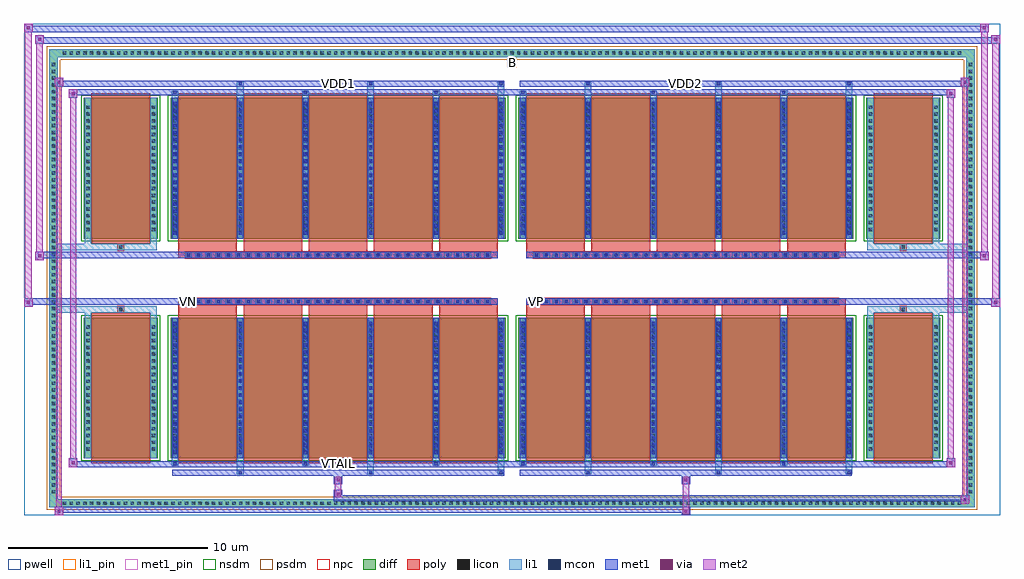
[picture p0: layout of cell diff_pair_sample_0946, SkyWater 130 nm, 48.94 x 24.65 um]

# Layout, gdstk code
import gdstk
lib = gdstk.Library(unit=1e-6, precision=5e-09)
def R(c, l, rs):  # rectangles x0, y0, x1, y1
    for r in rs: c.add(gdstk.rectangle(r[:2], r[2:], *l))
def A(c, l, x, y, w, h, nx, ny, dx, dy):  # array of equal rectangles
    R(c, l, [(x+i*dx, y+j*dy, x+i*dx+w, y+j*dy+h) for i in range(nx) for j in range(ny)])
def P(c, l, *ps):  # polygons
    for p in ps: c.add(gdstk.Polygon(p, *l))
pwell = (64, 44)
diff = (65, 20)
poly = (66, 20)
licon = (66, 44)
li1_pin = (67, 16)
li1 = (67, 20)
mcon = (67, 44)
met1_pin = (68, 16)
met1 = (68, 20)
via = (68, 44)
met2 = (69, 20)
nsdm = (93, 44)
psdm = (94, 20)
npc = (95, 20)

diff_pair_sample_0946 = lib.new_cell('diff_pair_sample_0946')
R(diff_pair_sample_0946, pwell, [(-24.47,-11.89,24.47,12.76), (-21.79,-10.08,-0.01,-0.8), (0.01,-10.08,21.79,-0.8), (-21.79,0.8,-0.01,10.08), (0.01,0.8,21.79,10.08)])
A(diff_pair_sample_0946, diff, -22.645, -11.49, 0.41, 0.41, 133, 2, 0.34, 22.57)
A(diff_pair_sample_0946, diff, -23.2, -10.915, 0.41, 0.41, 1, 64, 0, 0.34)
A(diff_pair_sample_0946, diff, 22.79, -10.915, 0.41, 0.41, 1, 64, 0, 0.34)
R(diff_pair_sample_0946, diff, [(-22.645,-11.49,22.645,-11.08), (-23.2,-10.915,-22.79,10.915), (22.79,-10.915,23.2,10.915), (-21.48,-9.035,-17.76,-1.985), (-17.12,-9.035,-0.32,-1.985), (0.32,-9.035,17.12,-1.985), (17.76,-9.035,21.48,-1.985), (-21.48,1.985,-17.76,9.035), (-17.12,1.985,-0.32,9.035), (0.32,1.985,17.12,9.035), (17.76,1.985,21.48,9.035), (-22.645,11.08,22.645,11.49)])
P(diff_pair_sample_0946, diff, [(23.2,11.49),(-23.2,11.49),(-23.2,-11.08),(-22.79,-11.08),(-22.79,11.08),(22.79,11.08),(22.79,-11.08),(-22.79,-11.08),(-23.2,-11.08),(-23.2,-11.49),(23.2,-11.49)])
A(diff_pair_sample_0946, poly, -16.73, -9.285, 2.94, 7.55, 5, 2, 3.27, 11.02)
A(diff_pair_sample_0946, poly, 0.71, -9.285, 2.94, 7.55, 5, 2, 3.27, 11.02)
A(diff_pair_sample_0946, poly, -16.73, -1.735, 2.94, 0.405, 5, 2, 3.27, 3.065)
A(diff_pair_sample_0946, poly, 0.71, -1.735, 2.94, 0.405, 5, 2, 3.27, 3.065)
A(diff_pair_sample_0946, poly, -16.385, -1.33, 0.33, 0.33, 31, 2, 0.5, 2.33)
A(diff_pair_sample_0946, poly, 1.055, -1.33, 0.33, 0.33, 31, 2, 0.5, 2.33)
R(diff_pair_sample_0946, poly, [(-21.09,-9.285,-18.15,-1.735), (18.15,-9.285,21.09,-1.735), (-19.785,-1.735,-19.455,-1.405), (-19.785,-1.735,-19.455,-1.405), (19.455,-1.735,19.785,-1.405), (19.455,-1.735,19.785,-1.405), (-16.73,-1.33,-0.71,-1), (0.71,-1.33,16.73,-1), (-16.73,1,-0.71,1.33), (0.71,1,16.73,1.33), (-19.785,1.405,-19.455,1.735), (-19.785,1.405,-19.455,1.735), (19.455,1.405,19.785,1.735), (19.455,1.405,19.785,1.735), (-21.09,1.735,-18.15,9.285), (18.15,1.735,21.09,9.285)])
A(diff_pair_sample_0946, licon, -22.525, -11.37, 0.17, 0.17, 133, 2, 0.34, 22.57)
A(diff_pair_sample_0946, licon, -23.08, -10.795, 0.17, 0.17, 1, 64, 0, 0.34)
A(diff_pair_sample_0946, licon, 22.91, -10.795, 0.17, 0.17, 1, 64, 0, 0.34)
A(diff_pair_sample_0946, licon, -21.34, -8.655, 0.17, 0.17, 1, 19, 0, 0.34)
A(diff_pair_sample_0946, licon, -18.07, -8.655, 0.17, 0.17, 1, 19, 0, 0.34)
A(diff_pair_sample_0946, licon, -16.98, -8.655, 0.17, 0.17, 6, 19, 3.27, 0.34)
A(diff_pair_sample_0946, licon, 0.46, -8.655, 0.17, 0.17, 6, 19, 3.27, 0.34)
A(diff_pair_sample_0946, licon, 17.9, -8.655, 0.17, 0.17, 1, 19, 0, 0.34)
A(diff_pair_sample_0946, licon, 21.17, -8.655, 0.17, 0.17, 1, 19, 0, 0.34)
A(diff_pair_sample_0946, licon, -16.305, -1.25, 0.17, 0.17, 31, 2, 0.5, 2.33)
A(diff_pair_sample_0946, licon, 1.135, -1.25, 0.17, 0.17, 31, 2, 0.5, 2.33)
A(diff_pair_sample_0946, licon, -21.34, 2.365, 0.17, 0.17, 1, 19, 0, 0.34)
A(diff_pair_sample_0946, licon, -18.07, 2.365, 0.17, 0.17, 1, 19, 0, 0.34)
A(diff_pair_sample_0946, licon, -16.98, 2.365, 0.17, 0.17, 6, 19, 3.27, 0.34)
A(diff_pair_sample_0946, licon, 0.46, 2.365, 0.17, 0.17, 6, 19, 3.27, 0.34)
A(diff_pair_sample_0946, licon, 17.9, 2.365, 0.17, 0.17, 1, 19, 0, 0.34)
A(diff_pair_sample_0946, licon, 21.17, 2.365, 0.17, 0.17, 1, 19, 0, 0.34)
R(diff_pair_sample_0946, licon, [(-19.705,-1.655,-19.535,-1.485), (19.535,-1.655,19.705,-1.485), (-19.705,1.485,-19.535,1.655), (19.535,1.485,19.705,1.655)])
R(diff_pair_sample_0946, li1_pin, [(-0.25,10.58,0.25,11.08)])
A(diff_pair_sample_0946, li1, -22.605, -11.45, 0.33, 0.33, 133, 2, 0.34, 22.57)
A(diff_pair_sample_0946, li1, -23.16, -10.875, 0.33, 0.33, 1, 64, 0, 0.34)
A(diff_pair_sample_0946, li1, 22.83, -10.875, 0.33, 0.33, 1, 64, 0, 0.34)
A(diff_pair_sample_0946, li1, -13.79, -9.84, 0.33, 0.805, 3, 2, 6.54, 18.875)
A(diff_pair_sample_0946, li1, -13.71, -9.84, 0.17, 0.17, 3, 2, 6.54, 19.51)
A(diff_pair_sample_0946, li1, 3.65, -9.84, 0.33, 0.805, 3, 2, 6.54, 18.875)
A(diff_pair_sample_0946, li1, 3.73, -9.84, 0.17, 0.17, 3, 2, 6.54, 19.51)
A(diff_pair_sample_0946, li1, -17.06, -9.41, 0.33, 0.375, 3, 2, 6.54, 18.445)
A(diff_pair_sample_0946, li1, -16.98, -9.41, 0.17, 0.17, 3, 2, 6.54, 18.65)
A(diff_pair_sample_0946, li1, 0.38, -9.41, 0.33, 0.375, 3, 2, 6.54, 18.445)
A(diff_pair_sample_0946, li1, 0.46, -9.41, 0.17, 0.17, 3, 2, 6.54, 18.65)
A(diff_pair_sample_0946, li1, -17.06, -9.035, 0.33, 7.05, 6, 2, 3.27, 11.02)
A(diff_pair_sample_0946, li1, 0.38, -9.035, 0.33, 7.05, 6, 2, 3.27, 11.02)
A(diff_pair_sample_0946, li1, -16.98, -8.835, 0.17, 0.17, 6, 19, 3.27, 0.36)
A(diff_pair_sample_0946, li1, -16.98, -8.835, 0.17, 6.65, 6, 2, 3.27, 11.02)
A(diff_pair_sample_0946, li1, 0.46, -8.835, 0.17, 0.17, 6, 19, 3.27, 0.36)
A(diff_pair_sample_0946, li1, 0.46, -8.835, 0.17, 6.65, 6, 2, 3.27, 11.02)
A(diff_pair_sample_0946, li1, -21.42, -8.735, 0.33, 0.33, 1, 19, 0, 0.34)
A(diff_pair_sample_0946, li1, -18.15, -8.735, 0.33, 0.33, 1, 19, 0, 0.34)
A(diff_pair_sample_0946, li1, -17.06, -8.735, 0.33, 0.33, 6, 19, 3.27, 0.34)
A(diff_pair_sample_0946, li1, 0.38, -8.735, 0.33, 0.33, 6, 19, 3.27, 0.34)
A(diff_pair_sample_0946, li1, 17.82, -8.735, 0.33, 0.33, 1, 19, 0, 0.34)
A(diff_pair_sample_0946, li1, 21.09, -8.735, 0.33, 0.33, 1, 19, 0, 0.34)
A(diff_pair_sample_0946, li1, -16.385, -1.33, 0.33, 0.33, 31, 2, 0.5, 2.33)
A(diff_pair_sample_0946, li1, 1.055, -1.33, 0.33, 0.33, 31, 2, 0.5, 2.33)
A(diff_pair_sample_0946, li1, -16.98, 2.185, 0.17, 0.17, 6, 19, 3.27, 0.36)
A(diff_pair_sample_0946, li1, 0.46, 2.185, 0.17, 0.17, 6, 19, 3.27, 0.36)
A(diff_pair_sample_0946, li1, -21.42, 2.285, 0.33, 0.33, 1, 19, 0, 0.34)
A(diff_pair_sample_0946, li1, -18.15, 2.285, 0.33, 0.33, 1, 19, 0, 0.34)
A(diff_pair_sample_0946, li1, -17.06, 2.285, 0.33, 0.33, 6, 19, 3.27, 0.34)
A(diff_pair_sample_0946, li1, 0.38, 2.285, 0.33, 0.33, 6, 19, 3.27, 0.34)
A(diff_pair_sample_0946, li1, 17.82, 2.285, 0.33, 0.33, 1, 19, 0, 0.34)
A(diff_pair_sample_0946, li1, 21.09, 2.285, 0.33, 0.33, 1, 19, 0, 0.34)
R(diff_pair_sample_0946, li1, [(-23.2,-11.49,-22.79,-11.08), (-23.2,-11.49,-22.79,-11.08), (-22.79,-11.49,22.79,-11.08), (22.79,-11.49,23.2,-11.08), (22.79,-11.49,23.2,-11.08), (-23.2,-11.08,-22.79,11.08), (22.79,-11.08,23.2,11.08), (-21.42,-9.035,-21.09,-1.985), (-18.15,-9.035,-17.82,-1.985), (17.82,-9.035,18.15,-1.985), (21.09,-9.035,21.42,-1.985), (-21.42,-1.985,-21.09,-1.405), (-18.15,-1.985,-17.82,-1.405), (17.82,-1.985,18.15,-1.405), (21.09,-1.985,21.42,-1.405), (-23.2,-1.735,-19.785,-1.405), (-21.42,-1.735,-19.785,-1.405), (-19.785,-1.735,-19.455,-1.405), (-19.455,-1.735,-17.82,-1.405), (17.82,-1.735,19.455,-1.405), (19.455,-1.735,19.785,-1.405), (19.455,-1.735,23.2,-1.405), (19.785,-1.735,21.42,-1.405), (-23.2,1.405,-19.785,1.735), (-21.42,1.405,-19.785,1.735), (-21.42,1.405,-21.09,1.985), (-19.785,1.405,-19.455,1.735), (-19.455,1.405,-17.82,1.735), (-18.15,1.405,-17.82,1.985), (17.82,1.405,19.455,1.735), (17.82,1.405,18.15,1.985), (19.455,1.405,19.785,1.735), (19.455,1.405,23.2,1.735), (19.785,1.405,21.42,1.735), (21.09,1.405,21.42,1.985), (-21.42,1.985,-21.09,9.035), (-18.15,1.985,-17.82,9.035), (17.82,1.985,18.15,9.035), (21.09,1.985,21.42,9.035), (-23.2,11.08,-22.79,11.49), (-23.2,11.08,-22.79,11.49), (-22.79,11.08,22.79,11.49), (22.79,11.08,23.2,11.49), (22.79,11.08,23.2,11.49)])
A(diff_pair_sample_0946, mcon, -13.71, -9.84, 0.17, 0.17, 3, 2, 6.54, 19.51)
A(diff_pair_sample_0946, mcon, 3.73, -9.84, 0.17, 0.17, 3, 2, 6.54, 19.51)
A(diff_pair_sample_0946, mcon, -16.98, -9.41, 0.17, 0.17, 3, 2, 6.54, 18.65)
A(diff_pair_sample_0946, mcon, 0.46, -9.41, 0.17, 0.17, 3, 2, 6.54, 18.65)
A(diff_pair_sample_0946, mcon, -16.98, -8.835, 0.17, 0.17, 6, 19, 3.27, 0.36)
A(diff_pair_sample_0946, mcon, 0.46, -8.835, 0.17, 0.17, 6, 19, 3.27, 0.36)
A(diff_pair_sample_0946, mcon, -16.305, -1.25, 0.17, 0.17, 31, 2, 0.5, 2.33)
A(diff_pair_sample_0946, mcon, 1.135, -1.25, 0.17, 0.17, 31, 2, 0.5, 2.33)
A(diff_pair_sample_0946, mcon, -16.98, 2.185, 0.17, 0.17, 6, 19, 3.27, 0.36)
A(diff_pair_sample_0946, mcon, 0.46, 2.185, 0.17, 0.17, 6, 19, 3.27, 0.36)
R(diff_pair_sample_0946, met1_pin, [(-8.855,-9.45,-8.585,-9.18), (-16.355,-1.29,-16.085,-1.02), (1.085,-1.29,1.355,-1.02), (-8.855,9.63,-8.585,9.9), (8.585,9.63,8.855,9.9)])
A(diff_pair_sample_0946, met1, -13.77, -9.9, 0.29, 0.29, 3, 2, 6.54, 19.51)
A(diff_pair_sample_0946, met1, 3.67, -9.9, 0.29, 0.29, 3, 2, 6.54, 19.51)
A(diff_pair_sample_0946, met1, -17.04, -9.47, 0.29, 0.29, 3, 2, 6.54, 18.65)
A(diff_pair_sample_0946, met1, 0.4, -9.47, 0.29, 0.29, 3, 2, 6.54, 18.65)
A(diff_pair_sample_0946, met1, -17.04, -9.035, 0.29, 7.05, 6, 2, 3.27, 11.02)
A(diff_pair_sample_0946, met1, 0.4, -9.035, 0.29, 7.05, 6, 2, 3.27, 11.02)
A(diff_pair_sample_0946, met1, -17.04, -8.895, 0.29, 0.29, 6, 19, 3.27, 0.36)
A(diff_pair_sample_0946, met1, 0.4, -8.895, 0.29, 0.29, 6, 19, 3.27, 0.36)
A(diff_pair_sample_0946, met1, -16.365, -1.31, 0.29, 0.29, 31, 2, 0.5, 2.33)
A(diff_pair_sample_0946, met1, 1.075, -1.31, 0.29, 0.29, 31, 2, 0.5, 2.33)
A(diff_pair_sample_0946, met1, -17.04, 2.125, 0.29, 0.29, 6, 19, 3.27, 0.36)
A(diff_pair_sample_0946, met1, 0.4, 2.125, 0.29, 0.29, 6, 19, 3.27, 0.36)
R(diff_pair_sample_0946, met1, [(-22.93,-11.89,-22.5,-11.46), (8.505,-11.89,8.935,-11.46), (-22.93,-11.75,8.935,-11.46), (22.5,-11.32,22.93,-10.89), (-8.935,-11.18,22.93,-10.89), (-8.935,-11.04,-8.505,-10.61), (-8.935,-10.33,-8.505,-9.9), (8.505,-10.33,8.935,-9.9), (-17.04,-9.9,-0.4,-9.61), (0.4,-9.9,17.04,-9.61), (-22.22,-9.47,-21.79,-9.04), (-22.22,-9.47,-17.04,-9.18), (-17.04,-9.47,-0.4,-9.18), (-0.4,-9.47,0.4,-9.18), (0.4,-9.47,17.04,-9.18), (17.04,-9.47,22.22,-9.18), (21.79,-9.47,22.22,-9.04), (-24.47,-1.43,-24.04,-1), (24.04,-1.43,24.47,-1), (-24.47,-1.33,-0.71,-1), (-16.73,-1.33,-0.71,-1), (0.71,-1.33,16.73,-1), (0.71,-1.33,24.47,-1), (-23.9,0.9,-23.47,1.33), (23.47,0.9,23.9,1.33), (-23.9,1,-16.73,1.33), (-16.73,1,-0.71,1.33), (0.71,1,16.73,1.33), (16.73,1,23.9,1.33), (-22.22,9.04,-21.79,9.47), (21.79,9.04,22.22,9.47), (-22.22,9.18,-17.04,9.47), (-17.04,9.18,-0.4,9.47), (-0.4,9.18,0.4,9.47), (0.4,9.18,17.04,9.47), (17.04,9.18,22.22,9.47), (-22.93,9.61,-22.5,10.04), (-22.93,9.61,-17.04,9.9), (-17.04,9.61,-0.4,9.9), (0.4,9.61,17.04,9.9), (17.04,9.61,22.93,9.9), (22.5,9.61,22.93,10.04), (-23.9,11.76,-23.47,12.19), (-23.9,11.76,-21.79,12.09), (-21.79,11.76,21.79,12.09), (21.79,11.76,24.47,12.09), (24.04,11.76,24.47,12.19), (-24.47,12.33,-24.04,12.76), (-24.47,12.33,-21.79,12.66), (-21.79,12.33,21.79,12.66), (21.79,12.33,23.9,12.66), (23.47,12.33,23.9,12.76)])
R(diff_pair_sample_0946, via, [(-22.79,-11.75,-22.64,-11.6), (8.645,-11.75,8.795,-11.6), (22.64,-11.18,22.79,-11.03), (-8.795,-10.9,-8.645,-10.75), (-8.795,-10.19,-8.645,-10.04), (8.645,-10.19,8.795,-10.04), (-22.08,-9.33,-21.93,-9.18), (21.93,-9.33,22.08,-9.18), (-24.33,-1.29,-24.18,-1.14), (24.18,-1.29,24.33,-1.14), (-23.76,1.04,-23.61,1.19), (23.61,1.04,23.76,1.19), (-22.08,9.18,-21.93,9.33), (21.93,9.18,22.08,9.33), (-22.79,9.75,-22.64,9.9), (22.64,9.75,22.79,9.9), (-23.76,11.9,-23.61,12.05), (24.18,11.9,24.33,12.05), (-24.33,12.47,-24.18,12.62), (23.61,12.47,23.76,12.62)])
R(diff_pair_sample_0946, met2, [(-22.93,-11.89,-22.5,-11.46), (-22.86,-11.89,-22.57,10.04), (-22.57,-11.89,-22.5,-11.46), (-22.88,-11.84,-22.55,-11.51), (8.555,-11.84,8.885,-11.51), (8.555,-11.51,8.885,-10.28), (22.5,-11.32,22.93,-10.89), (22.57,-11.32,22.86,10.04), (22.86,-11.32,22.93,-10.89), (22.55,-11.27,22.88,-10.94), (-8.885,-10.99,-8.555,-10.66), (-8.885,-10.66,-8.555,-10.28), (-8.885,-10.28,-8.555,-9.95), (8.555,-10.28,8.885,-9.95), (-22.22,-9.47,-21.79,-9.04), (-22.15,-9.47,-21.86,9.47), (-21.86,-9.47,-21.79,-9.04), (21.79,-9.47,22.22,-9.04), (21.86,-9.47,22.15,9.47), (22.15,-9.47,22.22,-9.04), (-22.17,-9.42,-21.84,-9.09), (21.84,-9.42,22.17,-9.09), (-24.47,-1.43,-24.04,-1), (-24.42,-1.43,-24.09,12.76), (-24.09,-1.43,-24.04,-1), (24.04,-1.43,24.47,-1), (24.09,-1.43,24.42,12.19), (24.42,-1.43,24.47,-1), (-24.42,-1.38,-24.09,-1.05), (24.09,-1.38,24.42,-1.05), (-23.9,0.9,-23.47,1.33), (-23.85,0.9,-23.52,12.19), (-23.52,0.9,-23.47,1.33), (23.47,0.9,23.9,1.33), (23.52,0.9,23.85,12.76), (23.85,0.9,23.9,1.33), (-23.85,0.95,-23.52,1.28), (23.52,0.95,23.85,1.28), (-22.22,9.04,-21.79,9.47), (-21.86,9.04,-21.79,9.47), (21.79,9.04,22.22,9.47), (22.15,9.04,22.22,9.47), (-22.17,9.09,-21.84,9.42), (21.84,9.09,22.17,9.42), (-22.93,9.61,-22.5,10.04), (-22.57,9.61,-22.5,10.04), (22.5,9.61,22.93,10.04), (22.86,9.61,22.93,10.04), (-22.88,9.66,-22.55,9.99), (22.55,9.66,22.88,9.99), (-23.9,11.76,-23.47,12.19), (-23.52,11.76,-23.47,12.19), (24.04,11.76,24.47,12.19), (24.42,11.76,24.47,12.19), (-23.85,11.81,-23.52,12.14), (24.09,11.81,24.42,12.14), (-24.47,12.33,-24.04,12.76), (-24.09,12.33,-24.04,12.76), (23.47,12.33,23.9,12.76), (23.85,12.33,23.9,12.76), (-24.42,12.38,-24.09,12.71), (23.52,12.38,23.85,12.71)])
R(diff_pair_sample_0946, nsdm, [(-21.61,-9.165,-17.63,-1.855), (-17.25,-9.165,-0.19,-1.855), (0.19,-9.165,17.25,-1.855), (17.63,-9.165,21.61,-1.855), (-21.61,1.855,-17.63,9.165), (-17.25,1.855,-0.19,9.165), (0.19,1.855,17.25,9.165), (17.63,1.855,21.61,9.165)])
P(diff_pair_sample_0946, psdm, [(23.33,11.62),(-23.33,11.62),(-23.33,-10.95),(-22.66,-10.95),(-22.66,10.95),(22.66,10.95),(22.66,-10.95),(-22.66,-10.95),(-23.33,-10.95),(-23.33,-11.62),(23.33,-11.62)])
A(diff_pair_sample_0946, npc, -16.405, -1.35, 0.37, 0.37, 31, 2, 0.5, 2.33)
A(diff_pair_sample_0946, npc, 1.035, -1.35, 0.37, 0.37, 31, 2, 0.5, 2.33)
R(diff_pair_sample_0946, npc, [(-19.805,-1.755,-19.435,-1.385), (19.435,-1.755,19.805,-1.385), (-16.405,-1.35,-15.535,-0.98), (-16.405,-1.35,-15.535,-0.98), (-15.905,-1.35,-15.035,-0.98), (-15.905,-1.35,-15.035,-0.98), (-15.405,-1.35,-14.535,-0.98), (-15.405,-1.35,-14.535,-0.98), (-14.905,-1.35,-14.035,-0.98), (-14.905,-1.35,-14.035,-0.98), (-14.405,-1.35,-13.535,-0.98), (-14.405,-1.35,-13.535,-0.98), (-13.905,-1.35,-13.035,-0.98), (-13.905,-1.35,-13.035,-0.98), (-13.405,-1.35,-12.535,-0.98), (-13.405,-1.35,-12.535,-0.98), (-12.905,-1.35,-12.035,-0.98), (-12.905,-1.35,-12.035,-0.98), (-12.405,-1.35,-11.535,-0.98), (-12.405,-1.35,-11.535,-0.98), (-11.905,-1.35,-11.035,-0.98), (-11.905,-1.35,-11.035,-0.98), (-11.405,-1.35,-10.535,-0.98), (-11.405,-1.35,-10.535,-0.98), (-10.905,-1.35,-10.035,-0.98), (-10.905,-1.35,-10.035,-0.98), (-10.405,-1.35,-9.535,-0.98), (-10.405,-1.35,-9.535,-0.98), (-9.905,-1.35,-9.035,-0.98), (-9.905,-1.35,-9.035,-0.98), (-9.405,-1.35,-8.535,-0.98), (-9.405,-1.35,-8.535,-0.98), (-8.905,-1.35,-8.035,-0.98), (-8.905,-1.35,-8.035,-0.98), (-8.405,-1.35,-7.535,-0.98), (-8.405,-1.35,-7.535,-0.98), (-7.905,-1.35,-7.035,-0.98), (-7.905,-1.35,-7.035,-0.98), (-7.405,-1.35,-6.535,-0.98), (-7.405,-1.35,-6.535,-0.98), (-6.905,-1.35,-6.035,-0.98), (-6.905,-1.35,-6.035,-0.98), (-6.405,-1.35,-5.535,-0.98), (-6.405,-1.35,-5.535,-0.98), (-5.905,-1.35,-5.035,-0.98), (-5.905,-1.35,-5.035,-0.98), (-5.405,-1.35,-4.535,-0.98), (-5.405,-1.35,-4.535,-0.98), (-4.905,-1.35,-4.035,-0.98), (-4.905,-1.35,-4.035,-0.98), (-4.405,-1.35,-3.535,-0.98), (-4.405,-1.35,-3.535,-0.98), (-3.905,-1.35,-3.035,-0.98), (-3.905,-1.35,-3.035,-0.98), (-3.405,-1.35,-2.535,-0.98), (-3.405,-1.35,-2.535,-0.98), (-2.905,-1.35,-2.035,-0.98), (-2.905,-1.35,-2.035,-0.98), (-2.405,-1.35,-1.535,-0.98), (-2.405,-1.35,-1.535,-0.98), (-1.905,-1.35,-1.035,-0.98), (-1.905,-1.35,-1.035,-0.98), (1.035,-1.35,1.905,-0.98), (1.035,-1.35,1.905,-0.98), (1.535,-1.35,2.405,-0.98), (1.535,-1.35,2.405,-0.98), (2.035,-1.35,2.905,-0.98), (2.035,-1.35,2.905,-0.98), (2.535,-1.35,3.405,-0.98), (2.535,-1.35,3.405,-0.98), (3.035,-1.35,3.905,-0.98), (3.035,-1.35,3.905,-0.98), (3.535,-1.35,4.405,-0.98), (3.535,-1.35,4.405,-0.98), (4.035,-1.35,4.905,-0.98), (4.035,-1.35,4.905,-0.98), (4.535,-1.35,5.405,-0.98), (4.535,-1.35,5.405,-0.98), (5.035,-1.35,5.905,-0.98), (5.035,-1.35,5.905,-0.98), (5.535,-1.35,6.405,-0.98), (5.535,-1.35,6.405,-0.98), (6.035,-1.35,6.905,-0.98), (6.035,-1.35,6.905,-0.98), (6.535,-1.35,7.405,-0.98), (6.535,-1.35,7.405,-0.98), (7.035,-1.35,7.905,-0.98), (7.035,-1.35,7.905,-0.98), (7.535,-1.35,8.405,-0.98), (7.535,-1.35,8.405,-0.98), (8.035,-1.35,8.905,-0.98), (8.035,-1.35,8.905,-0.98), (8.535,-1.35,9.405,-0.98), (8.535,-1.35,9.405,-0.98), (9.035,-1.35,9.905,-0.98), (9.035,-1.35,9.905,-0.98), (9.535,-1.35,10.405,-0.98), (9.535,-1.35,10.405,-0.98), (10.035,-1.35,10.905,-0.98), (10.035,-1.35,10.905,-0.98), (10.535,-1.35,11.405,-0.98), (10.535,-1.35,11.405,-0.98), (11.035,-1.35,11.905,-0.98), (11.035,-1.35,11.905,-0.98), (11.535,-1.35,12.405,-0.98), (11.535,-1.35,12.405,-0.98), (12.035,-1.35,12.905,-0.98), (12.035,-1.35,12.905,-0.98), (12.535,-1.35,13.405,-0.98), (12.535,-1.35,13.405,-0.98), (13.035,-1.35,13.905,-0.98), (13.035,-1.35,13.905,-0.98), (13.535,-1.35,14.405,-0.98), (13.535,-1.35,14.405,-0.98), (14.035,-1.35,14.905,-0.98), (14.035,-1.35,14.905,-0.98), (14.535,-1.35,15.405,-0.98), (14.535,-1.35,15.405,-0.98), (15.035,-1.35,15.905,-0.98), (15.035,-1.35,15.905,-0.98), (15.535,-1.35,16.405,-0.98), (15.535,-1.35,16.405,-0.98), (-16.405,0.98,-15.535,1.35), (-16.405,0.98,-15.535,1.35), (-15.905,0.98,-15.035,1.35), (-15.905,0.98,-15.035,1.35), (-15.405,0.98,-14.535,1.35), (-15.405,0.98,-14.535,1.35), (-14.905,0.98,-14.035,1.35), (-14.905,0.98,-14.035,1.35), (-14.405,0.98,-13.535,1.35), (-14.405,0.98,-13.535,1.35), (-13.905,0.98,-13.035,1.35), (-13.905,0.98,-13.035,1.35), (-13.405,0.98,-12.535,1.35), (-13.405,0.98,-12.535,1.35), (-12.905,0.98,-12.035,1.35), (-12.905,0.98,-12.035,1.35), (-12.405,0.98,-11.535,1.35), (-12.405,0.98,-11.535,1.35), (-11.905,0.98,-11.035,1.35), (-11.905,0.98,-11.035,1.35), (-11.405,0.98,-10.535,1.35), (-11.405,0.98,-10.535,1.35), (-10.905,0.98,-10.035,1.35), (-10.905,0.98,-10.035,1.35), (-10.405,0.98,-9.535,1.35), (-10.405,0.98,-9.535,1.35), (-9.905,0.98,-9.035,1.35), (-9.905,0.98,-9.035,1.35), (-9.405,0.98,-8.535,1.35), (-9.405,0.98,-8.535,1.35), (-8.905,0.98,-8.035,1.35), (-8.905,0.98,-8.035,1.35), (-8.405,0.98,-7.535,1.35), (-8.405,0.98,-7.535,1.35), (-7.905,0.98,-7.035,1.35), (-7.905,0.98,-7.035,1.35), (-7.405,0.98,-6.535,1.35), (-7.405,0.98,-6.535,1.35), (-6.905,0.98,-6.035,1.35), (-6.905,0.98,-6.035,1.35), (-6.405,0.98,-5.535,1.35), (-6.405,0.98,-5.535,1.35), (-5.905,0.98,-5.035,1.35), (-5.905,0.98,-5.035,1.35), (-5.405,0.98,-4.535,1.35), (-5.405,0.98,-4.535,1.35), (-4.905,0.98,-4.035,1.35), (-4.905,0.98,-4.035,1.35), (-4.405,0.98,-3.535,1.35), (-4.405,0.98,-3.535,1.35), (-3.905,0.98,-3.035,1.35), (-3.905,0.98,-3.035,1.35), (-3.405,0.98,-2.535,1.35), (-3.405,0.98,-2.535,1.35), (-2.905,0.98,-2.035,1.35), (-2.905,0.98,-2.035,1.35), (-2.405,0.98,-1.535,1.35), (-2.405,0.98,-1.535,1.35), (-1.905,0.98,-1.035,1.35), (-1.905,0.98,-1.035,1.35), (1.035,0.98,1.905,1.35), (1.035,0.98,1.905,1.35), (1.535,0.98,2.405,1.35), (1.535,0.98,2.405,1.35), (2.035,0.98,2.905,1.35), (2.035,0.98,2.905,1.35), (2.535,0.98,3.405,1.35), (2.535,0.98,3.405,1.35), (3.035,0.98,3.905,1.35), (3.035,0.98,3.905,1.35), (3.535,0.98,4.405,1.35), (3.535,0.98,4.405,1.35), (4.035,0.98,4.905,1.35), (4.035,0.98,4.905,1.35), (4.535,0.98,5.405,1.35), (4.535,0.98,5.405,1.35), (5.035,0.98,5.905,1.35), (5.035,0.98,5.905,1.35), (5.535,0.98,6.405,1.35), (5.535,0.98,6.405,1.35), (6.035,0.98,6.905,1.35), (6.035,0.98,6.905,1.35), (6.535,0.98,7.405,1.35), (6.535,0.98,7.405,1.35), (7.035,0.98,7.905,1.35), (7.035,0.98,7.905,1.35), (7.535,0.98,8.405,1.35), (7.535,0.98,8.405,1.35), (8.035,0.98,8.905,1.35), (8.035,0.98,8.905,1.35), (8.535,0.98,9.405,1.35), (8.535,0.98,9.405,1.35), (9.035,0.98,9.905,1.35), (9.035,0.98,9.905,1.35), (9.535,0.98,10.405,1.35), (9.535,0.98,10.405,1.35), (10.035,0.98,10.905,1.35), (10.035,0.98,10.905,1.35), (10.535,0.98,11.405,1.35), (10.535,0.98,11.405,1.35), (11.035,0.98,11.905,1.35), (11.035,0.98,11.905,1.35), (11.535,0.98,12.405,1.35), (11.535,0.98,12.405,1.35), (12.035,0.98,12.905,1.35), (12.035,0.98,12.905,1.35), (12.535,0.98,13.405,1.35), (12.535,0.98,13.405,1.35), (13.035,0.98,13.905,1.35), (13.035,0.98,13.905,1.35), (13.535,0.98,14.405,1.35), (13.535,0.98,14.405,1.35), (14.035,0.98,14.905,1.35), (14.035,0.98,14.905,1.35), (14.535,0.98,15.405,1.35), (14.535,0.98,15.405,1.35), (15.035,0.98,15.905,1.35), (15.035,0.98,15.905,1.35), (15.535,0.98,16.405,1.35), (15.535,0.98,16.405,1.35), (-19.805,1.385,-19.435,1.755), (19.435,1.385,19.805,1.755)])
diff_pair_sample_0946.add(gdstk.Label('VTAIL', (-8.72,-9.315), layer=68, texttype=5))
diff_pair_sample_0946.add(gdstk.Label('VN', (-16.22,-1.155), layer=68, texttype=5))
diff_pair_sample_0946.add(gdstk.Label('VP', (1.22,-1.155), layer=68, texttype=5))
diff_pair_sample_0946.add(gdstk.Label('B', (0,10.83), layer=67, texttype=5))
diff_pair_sample_0946.add(gdstk.Label('VDD2', (8.72,9.765), layer=68, texttype=5))
diff_pair_sample_0946.add(gdstk.Label('VDD1', (-8.72,9.765), layer=68, texttype=5))

lib.write_gds('diff_pair_sample_0946.gds')
